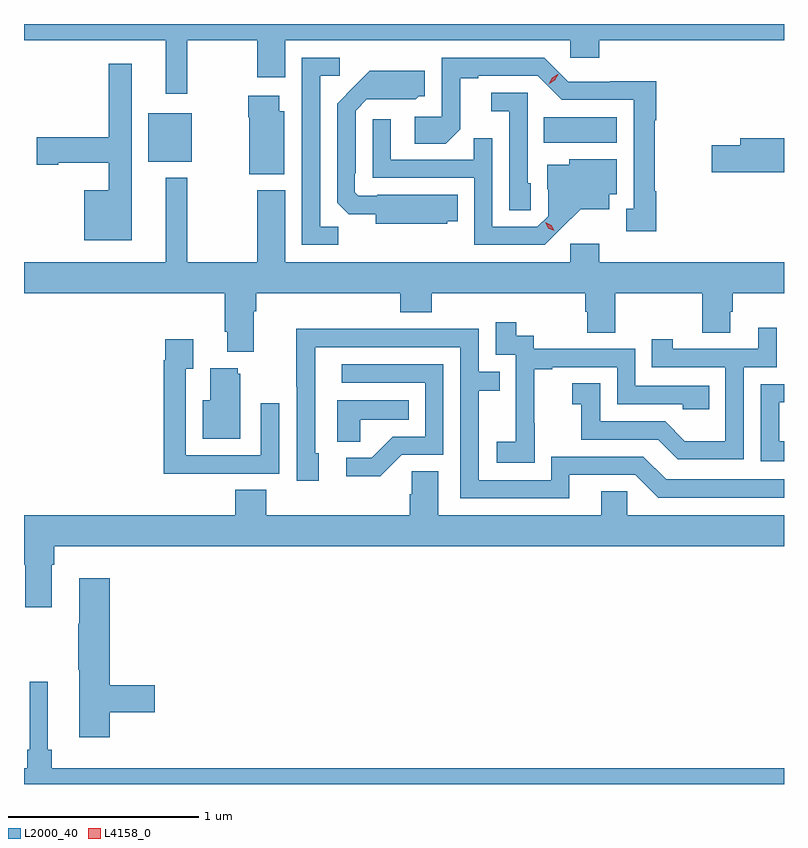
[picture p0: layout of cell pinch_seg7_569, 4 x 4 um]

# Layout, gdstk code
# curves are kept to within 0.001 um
import gdstk
lib = gdstk.Library(unit=1e-6, precision=1e-09)
def R(c, l, rs):  # rectangles x0, y0, x1, y1
    for r in rs: c.add(gdstk.rectangle(r[:2], r[2:], *l))
def P(c, l, *ps):  # polygons
    for p in ps: c.add(gdstk.Polygon(p, *l))
L2000_40 = (2000, 40)
L4158_0 = (4158, 0)

pinch_seg7_569 = lib.new_cell('pinch_seg7_569')
R(pinch_seg7_569, L2000_40, [(183.017,1047.929,183.244,1048.183), (185.098,1048.028,185.482,1048.162)])
P(pinch_seg7_569, L2000_40, [(183.221,1048.568),(183.589,1048.568),(183.589,1048.374),(183.736,1048.374),(183.736,1048.568),(185.238,1048.568),(185.238,1048.475),(185.39,1048.475),(185.39,1048.568),(186.362,1048.568),(186.362,1048.653),(182.362,1048.653),(182.362,1048.568),(183.107,1048.568),(183.107,1048.287),(183.221,1048.287)],
  [(184.017,1047.587),(183.921,1047.587),(183.921,1048.38),(184.024,1048.38),(184.024,1048.476),(183.825,1048.476),(183.825,1047.492),(184.017,1047.492)],
  [(185.689,1047.773),(185.681,1047.773),(185.681,1048.147),(185.689,1048.147),(185.689,1048.352),(185.448,1048.352),(185.448,1048.35),(185.226,1048.35),(185.1,1048.476),(184.56,1048.476),(184.56,1048.164),(184.419,1048.164),(184.419,1048.024),(184.583,1048.024),(184.659,1048.1),(184.659,1048.368),(184.753,1048.368),(184.753,1048.38),(185.067,1048.38),(185.193,1048.254),(185.57,1048.254),(185.57,1047.681),(185.531,1047.681),(185.531,1047.561),(185.689,1047.561)],
  [(182.929,1048.444),(182.808,1048.444),(182.808,1048.058),(182.43,1048.058),(182.43,1047.911),(182.542,1047.911),(182.542,1047.923),(182.808,1047.923),(182.808,1047.778),(182.678,1047.778),(182.678,1047.515),(182.929,1047.515)],
  [(184.59,1047.614),(184.646,1047.614),(184.646,1047.754),(184.222,1047.754),(184.222,1047.75),(184.122,1047.75),(184.104,1047.768),(184.104,1047.868),(184.107,1047.868),(184.107,1048.197),(184.167,1048.257),(184.424,1048.256),(184.44,1048.272),(184.471,1048.272),(184.471,1048.408),(184.183,1048.408),(184.011,1048.234),(184.011,1047.712),(184.07,1047.653),(184.214,1047.653),(184.214,1047.602),(184.59,1047.602)],
  [(185.028,1047.816),(185.013,1047.816),(185.013,1048.29),(184.821,1048.29),(184.821,1048.193),(184.917,1048.193),(184.917,1047.673),(185.028,1047.673)],
  [(183.733,1048.194),(183.706,1048.194),(183.706,1048.276),(183.541,1048.276),(183.541,1048.163),(183.548,1048.163),(183.548,1047.863),(183.733,1047.863)],
  [(185.188,1047.575),(185.291,1047.677),(185.443,1047.677),(185.443,1047.756),(185.482,1047.756),(185.482,1047.94),(185.232,1047.94),(185.232,1047.913),(185.117,1047.913),(185.117,1047.784),(185.121,1047.784),(185.121,1047.642),(185.064,1047.585),(184.827,1047.585),(184.827,1048.052),(184.729,1048.052),(184.729,1047.939),(184.293,1047.939),(184.293,1048.153),(184.197,1048.153),(184.197,1047.843),(184.731,1047.843),(184.731,1047.492),(185.104,1047.492)],
  [(186.362,1048.052),(186.131,1048.052),(186.131,1048.016),(185.982,1048.016),(185.982,1047.874),(186.362,1047.874)],
  [(183.571,1047.14),(183.584,1047.14),(183.584,1047.236),(184.343,1047.236),(184.343,1047.137),(184.508,1047.137),(184.508,1047.236),(185.315,1047.236),(185.315,1047.138),(185.327,1047.138),(185.327,1047.028),(185.475,1047.028),(185.475,1047.236),(185.932,1047.236),(185.932,1047.028),(186.079,1047.028),(186.079,1047.138),(186.092,1047.138),(186.092,1047.236),(186.362,1047.236),(186.362,1047.4),(185.39,1047.4),(185.39,1047.496),(185.238,1047.496),(185.238,1047.4),(183.736,1047.4),(183.736,1047.778),(183.589,1047.778),(183.589,1047.4),(183.221,1047.4),(183.221,1047.844),(183.107,1047.844),(183.107,1047.4),(182.362,1047.4),(182.362,1047.236),(183.419,1047.236),(183.419,1047.034),(183.431,1047.034),(183.431,1046.927),(183.571,1046.927)],
  [(185.049,1046.551),(185.048,1046.551),(185.048,1046.835),(185.143,1046.835),(185.143,1046.847),(185.484,1046.847),(185.484,1046.652),(185.829,1046.652),(185.829,1046.625),(185.969,1046.625),(185.969,1046.748),(185.58,1046.748),(185.58,1046.943),(185.046,1046.943),(185.046,1047.012),(184.954,1047.012),(184.954,1047.082),(184.845,1047.082),(184.845,1046.913),(184.95,1046.913),(184.95,1046.684),(184.949,1046.684),(184.949,1046.455),(184.851,1046.455),(184.851,1046.345),(185.049,1046.345)],
  [(186.15,1046.847),(186.324,1046.847),(186.324,1047.055),(186.227,1047.055),(186.227,1046.943),(185.776,1046.943),(185.776,1046.995),(185.665,1046.995),(185.665,1046.847),(186.054,1046.847),(186.054,1046.458),(185.84,1046.458),(185.736,1046.562),(185.394,1046.562),(185.394,1046.761),(185.247,1046.761),(185.247,1046.651),(185.296,1046.651),(185.296,1046.466),(185.699,1046.466),(185.804,1046.361),(186.15,1046.361)],
  [(185.233,1046.28),(185.58,1046.28),(185.7,1046.16),(186.362,1046.16),(186.362,1046.256),(185.742,1046.256),(185.622,1046.376),(185.136,1046.376),(185.136,1046.253),(184.755,1046.253),(184.755,1046.722),(184.865,1046.722),(184.865,1046.823),(184.755,1046.823),(184.755,1047.048),(184.259,1047.048),(184.259,1047.05),(183.796,1047.05),(183.796,1046.743),(183.798,1046.743),(183.798,1046.25),(183.913,1046.25),(183.913,1046.394),(183.894,1046.394),(183.894,1046.952),(184.659,1046.952),(184.659,1046.157),(185.233,1046.157)],
  [(183.389,1046.286),(183.705,1046.286),(183.705,1046.656),(183.609,1046.656),(183.609,1046.382),(183.213,1046.382),(183.213,1046.839),(183.253,1046.839),(183.253,1046.995),(183.105,1046.995),(183.105,1046.882),(183.097,1046.882),(183.097,1046.285),(183.389,1046.285)],
  [(184.35,1046.385),(184.569,1046.385),(184.569,1046.862),(184.035,1046.862),(184.035,1046.766),(184.473,1046.766),(184.473,1046.481),(184.304,1046.481),(184.193,1046.37),(184.059,1046.37),(184.059,1046.273),(184.237,1046.273)],
  [(183.499,1046.811),(183.488,1046.811),(183.488,1046.842),(183.341,1046.842),(183.341,1046.674),(183.302,1046.674),(183.302,1046.471),(183.499,1046.471)],
  [(186.362,1046.457),(186.337,1046.457),(186.337,1046.661),(186.362,1046.661),(186.362,1046.757),(186.24,1046.757),(186.24,1046.352),(186.362,1046.352)],
  [(184.131,1046.57),(184.388,1046.57),(184.388,1046.674),(184.01,1046.674),(184.01,1046.455),(184.131,1046.455)],
  [(182.509,1045.808),(182.522,1045.808),(182.522,1045.904),(186.362,1045.904),(186.362,1046.068),(185.538,1046.068),(185.538,1046.195),(185.399,1046.195),(185.399,1046.068),(184.543,1046.068),(184.543,1046.3),(184.404,1046.3),(184.404,1046.177),(184.391,1046.177),(184.391,1046.068),(183.638,1046.068),(183.638,1046.201),(183.473,1046.201),(183.473,1046.068),(182.362,1046.068),(182.362,1045.808),(182.369,1045.808),(182.369,1045.584),(182.509,1045.584)],
  [(182.813,1045.03),(183.049,1045.03),(183.049,1045.172),(182.813,1045.172),(182.813,1045.735),(182.654,1045.735),(182.654,1045.496),(182.647,1045.496),(182.647,1045.255),(182.654,1045.255),(182.654,1044.9),(182.813,1044.9)],
  [(182.507,1044.832),(182.488,1044.832),(182.488,1045.192),(182.391,1045.192),(182.391,1044.832),(182.378,1044.832),(182.378,1044.736),(182.362,1044.736),(182.362,1044.653),(186.362,1044.653),(186.362,1044.736),(182.507,1044.736)])
P(pinch_seg7_569, L4158_0, [(185.124,1048.337),(185.124,1048.337),(185.141,1048.37),(185.172,1048.389),(185.173,1048.389),(185.173,1048.389),(185.156,1048.356),(185.124,1048.337)],
  [(185.153,1047.564),(185.122,1047.579),(185.105,1047.609),(185.105,1047.609),(185.105,1047.609),(185.136,1047.594),(185.153,1047.565),(185.153,1047.564)])

lib.write_gds('pinch_seg7_569.gds')
